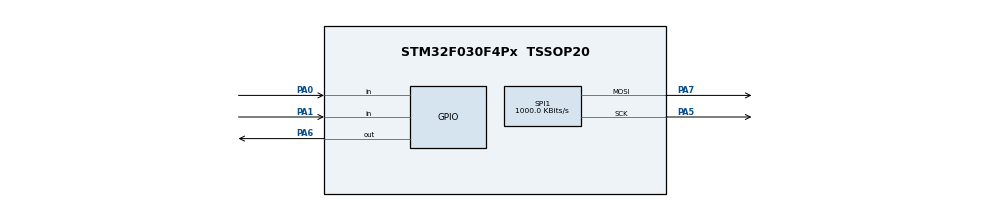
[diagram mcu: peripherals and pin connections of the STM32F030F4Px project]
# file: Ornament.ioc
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Mcu.Family=STM32F0
Mcu.Name=STM32F030F4Px
Mcu.Package=TSSOP20
PA0.Signal=GPIO_Input
PA1.Signal=GPIO_Input
PA13.Mode=Serial_Wire
PA13.Signal=SYS_SWDIO
PA14.Mode=Serial_Wire
PA14.Signal=SYS_SWCLK
PA5.Mode=TX_Only_Simplex_Unidirect_Master
PA5.Signal=SPI1_SCK
PA6.Signal=GPIO_Output
PA7.Mode=TX_Only_Simplex_Unidirect_Master
PA7.Signal=SPI1_MOSI
PF0-OSC_IN.Mode=HSE-External-Oscillator
PF0-OSC_IN.Signal=RCC_OSC_IN
PF1-OSC_OUT.Mode=HSE-External-Oscillator
PF1-OSC_OUT.Signal=RCC_OSC_OUT
ProjectManager.HeapSize=0x200
ProjectManager.StackSize=0x400
ProjectManager.TargetToolchain=MDK-ARM V5
RCC.PLLSourceVirtual=RCC_PLLSOURCE_HSE
RCC.SYSCLKSource=RCC_SYSCLKSOURCE_HSE
SPI1.BaudRatePrescaler=SPI_BAUDRATEPRESCALER_8
SPI1.CalculateBaudRate=1000.0 KBits/s
SPI1.DataSize=SPI_DATASIZE_8BIT
SPI1.Direction=SPI_DIRECTION_2LINES
SPI1.Mode=SPI_MODE_MASTER
SPI1.VirtualType=VM_MASTER
board=custom

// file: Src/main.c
/* USER CODE BEGIN Header */
/**
  ******************************************************************************
  * @file           : main.c
  * @brief          : Main program body
  ******************************************************************************
  * @attention
  *
  * <h2><center>&copy; Copyright (c) 2019 STMicroelectronics.
  * All rights reserved.</center></h2>
  *
  * This software component is licensed by ST under BSD 3-Clause license,
  * the "License"; You may not use this file except in compliance with the
  * License. You may obtain a copy of the License at:
  *                        opensource.org/licenses/BSD-3-Clause
  *
  ******************************************************************************
  */
/* USER CODE END Header */

#include "main.h"

/* USER CODE BEGIN Includes */
#include "animations.h"
/* USER CODE END Includes */

/* USER CODE BEGIN PD */
#ifndef NUMBER_LEDS
#define NUMBER_LEDS 10
#endif

#ifndef MAX_global_brightness
#define MAX_global_brightness 31
#endif

#ifndef MIN_global_brightness
#define MIN_global_brightness 10
#endif
/* USER CODE END PD */

SPI_HandleTypeDef hspi1;

/* USER CODE BEGIN PV */
uint8_t global_brightness = 0x0;
uint8_t mode = 0;
uint8_t empty_spi_buf[] = {0, 0, 0, 0};
uint8_t full_spi_buf[] = {0xFF, 0xFF, 0xFF, 0xFF};
uint8_t counter = 0;
uint8_t change_flag = 0;
uint8_t next_frame[NUMBER_LEDS][4];
int delay = 1000;
/* USER CODE END PV */

void SystemClock_Config(void);
static void MX_GPIO_Init(void);
static void MX_SPI1_Init(void);

/* USER CODE BEGIN PFP */
void APA102_START_FRAME(void);
void APA102_END_FRAME(void);
void APA102_SET_SINGLE_COLOR(uint8_t, uint32_t);
void APA102_SET_ARRAY(uint8_t[][4]);
void GENERATE_FRAME(uint8_t, uint8_t, uint8_t[][4]);
/* USER CODE END PFP */

int main(void)
{

  /* MCU Configuration--------------------------------------------------------*/

  /* Reset of all peripherals, Initializes the Flash interface and the Systick. */
  HAL_Init();

  /* Configure the system clock */
  SystemClock_Config();

  /* Initialize all configured peripherals */
  MX_GPIO_Init();
  MX_SPI1_Init();
  /* USER CODE BEGIN 2 */
	APA102_SET_SINGLE_COLOR(31, 0x0);
	HAL_Delay(500);
  /* USER CODE END 2 */

  /* Infinite loop */
  while (1)
  {

    /* USER CODE BEGIN 3 */

		/*
		HAL_Delay(delay);
		// HAL_GPIO_TogglePin(GPIOA, GPIO_PIN_6);
		APA102_SET_SINGLE_COLOR(5, 0x010000);
		HAL_Delay(delay);
		APA102_SET_SINGLE_COLOR(5, 0x0100);
		HAL_Delay(delay);
		APA102_SET_SINGLE_COLOR(5, 0x01);
		*/

		//if (!(counter%5)) {
			GENERATE_FRAME(change_flag, global_brightness, next_frame);
			APA102_SET_ARRAY(next_frame);
			change_flag = 0;
		//}
		HAL_Delay(100); // timing will likely have to be adjusted later
		counter++;
  }
  /* USER CODE END 3 */
}

void SystemClock_Config(void)
{
  RCC_OscInitTypeDef RCC_OscInitStruct = {0};
  RCC_ClkInitTypeDef RCC_ClkInitStruct = {0};

  /** Initializes the CPU, AHB and APB busses clocks
  */
  RCC_OscInitStruct.OscillatorType = RCC_OSCILLATORTYPE_HSE;
  RCC_OscInitStruct.HSEState = RCC_HSE_ON;
  RCC_OscInitStruct.PLL.PLLState = RCC_PLL_NONE;
  if (HAL_RCC_OscConfig(&RCC_OscInitStruct) != HAL_OK)
  {
    Error_Handler();
  }
  /** Initializes the CPU, AHB and APB busses clocks
  */
  RCC_ClkInitStruct.ClockType = RCC_CLOCKTYPE_HCLK|RCC_CLOCKTYPE_SYSCLK
                              |RCC_CLOCKTYPE_PCLK1;
  RCC_ClkInitStruct.SYSCLKSource = RCC_SYSCLKSOURCE_HSE;
  RCC_ClkInitStruct.AHBCLKDivider = RCC_SYSCLK_DIV1;
  RCC_ClkInitStruct.APB1CLKDivider = RCC_HCLK_DIV1;

  if (HAL_RCC_ClockConfig(&RCC_ClkInitStruct, FLASH_LATENCY_0) != HAL_OK)
  {
    Error_Handler();
  }
}

static void MX_SPI1_Init(void)
{

  /* SPI1 parameter configuration*/
  hspi1.Instance = SPI1;
  hspi1.Init.Mode = SPI_MODE_MASTER;
  hspi1.Init.Direction = SPI_DIRECTION_2LINES;
  hspi1.Init.DataSize = SPI_DATASIZE_8BIT;
  hspi1.Init.CLKPolarity = SPI_POLARITY_LOW;
  hspi1.Init.CLKPhase = SPI_PHASE_1EDGE;
  hspi1.Init.NSS = SPI_NSS_SOFT;
  hspi1.Init.BaudRatePrescaler = SPI_BAUDRATEPRESCALER_8;
  hspi1.Init.FirstBit = SPI_FIRSTBIT_MSB;
  hspi1.Init.TIMode = SPI_TIMODE_DISABLE;
  hspi1.Init.CRCCalculation = SPI_CRCCALCULATION_DISABLE;
  hspi1.Init.CRCPolynomial = 7;
  hspi1.Init.CRCLength = SPI_CRC_LENGTH_DATASIZE;
  hspi1.Init.NSSPMode = SPI_NSS_PULSE_ENABLE;
  if (HAL_SPI_Init(&hspi1) != HAL_OK)
  {
    Error_Handler();
  }

}

static void MX_GPIO_Init(void)
{
  GPIO_InitTypeDef GPIO_InitStruct = {0};

  /* GPIO Ports Clock Enable */
  __HAL_RCC_GPIOF_CLK_ENABLE();
  __HAL_RCC_GPIOA_CLK_ENABLE();

  /*Configure GPIO pin Output Level */
  HAL_GPIO_WritePin(GPIOA, GPIO_PIN_6, GPIO_PIN_RESET);

  /*Configure GPIO pins : PA0 PA1 */
  GPIO_InitStruct.Pin = GPIO_PIN_0|GPIO_PIN_1;
  GPIO_InitStruct.Mode = GPIO_MODE_IT_FALLING;
  GPIO_InitStruct.Pull = GPIO_NOPULL;
  HAL_GPIO_Init(GPIOA, &GPIO_InitStruct);

  /*Configure GPIO pin : PA6 */
  GPIO_InitStruct.Pin = GPIO_PIN_6;
  GPIO_InitStruct.Mode = GPIO_MODE_OUTPUT_PP;
  GPIO_InitStruct.Pull = GPIO_NOPULL;
  GPIO_InitStruct.Speed = GPIO_SPEED_FREQ_LOW;
  HAL_GPIO_Init(GPIOA, &GPIO_InitStruct);

	/* EXTI interrupt init*/
  HAL_NVIC_SetPriority(EXTI0_1_IRQn, 0, 0);
  HAL_NVIC_EnableIRQ(EXTI0_1_IRQn);

}

/* USER CODE BEGIN 4 */
void APA102_START_FRAME(void) {
	HAL_SPI_Transmit(&hspi1, empty_spi_buf, 1, 50);
	HAL_SPI_Transmit(&hspi1, empty_spi_buf, 1, 50);
	HAL_SPI_Transmit(&hspi1, empty_spi_buf, 1, 50);
	HAL_SPI_Transmit(&hspi1, empty_spi_buf, 1, 50);
}

void APA102_END_FRAME(void) {
	HAL_SPI_Transmit(&hspi1, full_spi_buf, 1, 50);
	HAL_SPI_Transmit(&hspi1, full_spi_buf, 1, 50);
	HAL_SPI_Transmit(&hspi1, full_spi_buf, 1, 50);
	HAL_SPI_Transmit(&hspi1, full_spi_buf, 1, 50);
}

void APA102_SET_SINGLE_COLOR(uint8_t brightness, uint32_t color) {
	uint8_t frame_bright = (brightness & 0x1F) | 0xE0; // set first 3 bits to 1
	uint8_t b = (color >> 16) & 0xFF;
	uint8_t g = (color >> 8) & 0xFF;
	uint8_t r = color & 0xFF;

	APA102_START_FRAME();

	for (int i = 0; i < NUMBER_LEDS; i++) {
		HAL_SPI_Transmit(&hspi1, &frame_bright, 1, 50);
		HAL_SPI_Transmit(&hspi1, &b, 1, 50);
		HAL_SPI_Transmit(&hspi1, &g, 1, 50);
		HAL_SPI_Transmit(&hspi1, &r, 1, 50);
	}

	APA102_END_FRAME();
}

void APA102_SET_ARRAY(uint8_t frame[][4]) {
	APA102_START_FRAME();

	for (int i = 0; i < NUMBER_LEDS; i++) {
		HAL_SPI_Transmit(&hspi1, frame[i], 1, 50);
		HAL_SPI_Transmit(&hspi1, frame[i]+1, 1, 50);
		HAL_SPI_Transmit(&hspi1, frame[i]+2, 1, 50);
		HAL_SPI_Transmit(&hspi1, frame[i]+3, 1, 50);
	}

	APA102_END_FRAME();
}

void GENERATE_FRAME(uint8_t change, uint8_t brightness, uint8_t next_frame[][4]) {
	// TURN OFF INTERRUPTS
	switch (mode) {
		case 1: // red breathing
			advance_mode_1(change, brightness, next_frame);
			break;
		case 2: // gold breathing
			advance_mode_2(change, brightness, next_frame);
			break;
		case 3: // red and gold breathing
			advance_mode_3(change, brightness, next_frame);
			break;
		case 4: // RGB alternating
			advance_mode_4(change, brightness, next_frame);
			break;
		case 5: // HSV traversal
			advance_mode_5(change, brightness, next_frame);
			break;
		default: // static red and gold
			advance_mode_0(change, brightness, next_frame);
			;
	}
	// TURN ON INTERRUPTS
}

void HAL_GPIO_EXTI_Callback(uint16_t GPIO_Pin)
{
  /* Prevent unused argument(s) compilation warning */
  UNUSED(GPIO_Pin);
  if (GPIO_Pin == GPIO_PIN_0) {
		mode = (mode + 1) % 6;
		change_flag = 1;
	}
	else if (GPIO_Pin == GPIO_PIN_1) {
		global_brightness = (global_brightness >= 12) ? 0 : global_brightness + 3;
	}
}
/* USER CODE END 4 */

void Error_Handler(void)
{
}

/************************ (C) COPYRIGHT STMicroelectronics *****END OF FILE****/
